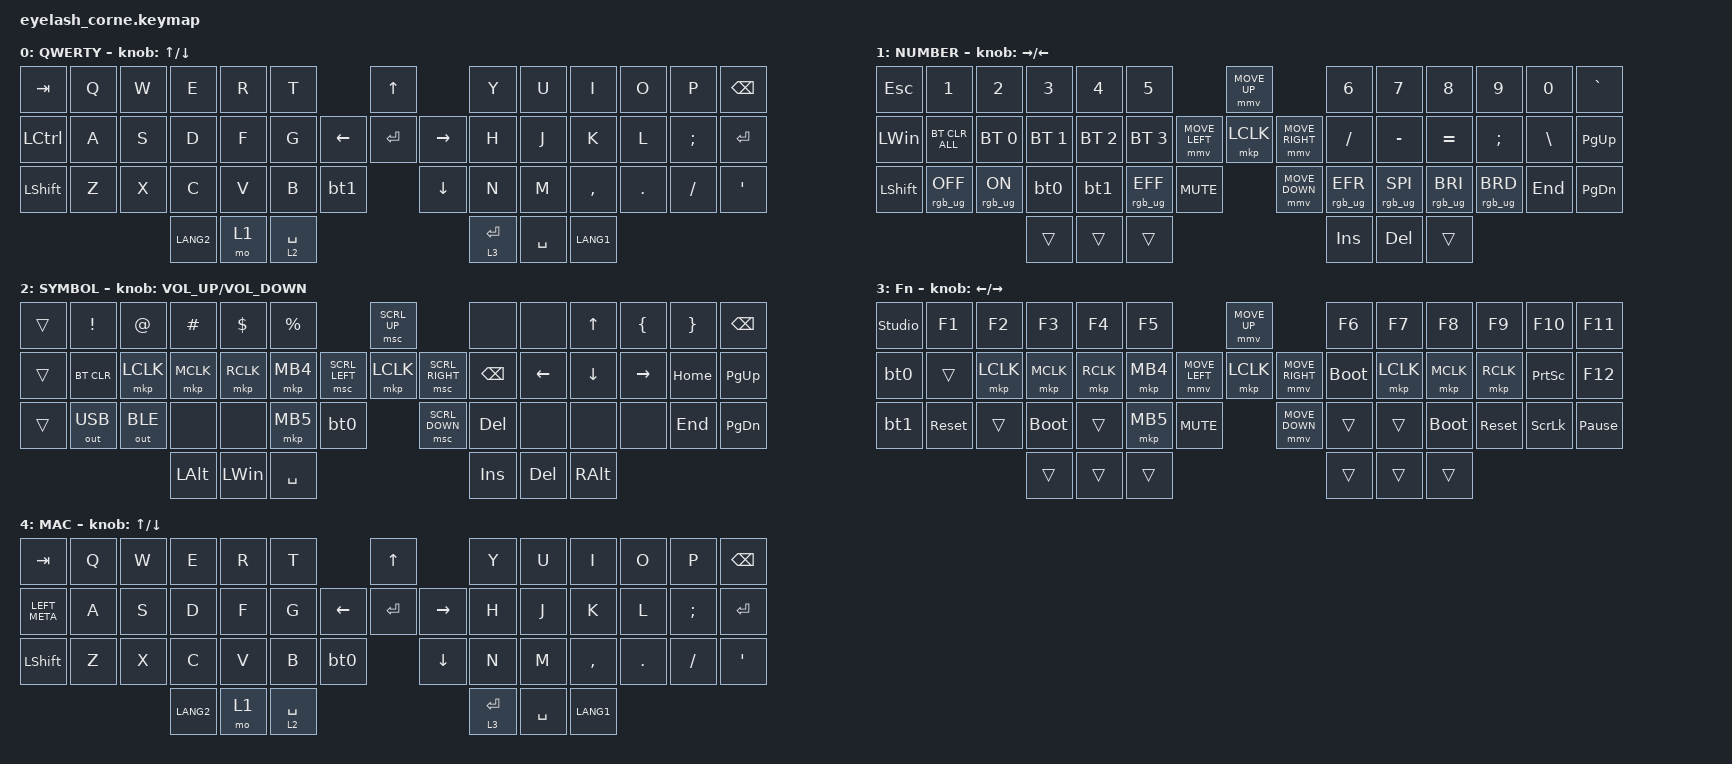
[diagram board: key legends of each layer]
#include <dt-bindings/zmk/mouse.h>
#include <input/processors.dtsi>
#include <behaviors.dtsi>
#include <dt-bindings/zmk/bt.h>
#include <dt-bindings/zmk/keys.h>
#include <dt-bindings/zmk/outputs.h>
#include <dt-bindings/zmk/pointing.h>
#include <dt-bindings/zmk/rgb.h>

/*
   &mmv_input_listener {
       input-processors = <&zip_xy_scaler 2 1>;
   };

   &msc_input_listener {
       input-processors = <&zip_xy_scaler 2 1>;
   };
 */

#define ZMK_MOUSE_DEFAULT_MOVE_VAL 1200  // 600
#define ZMK_MOUSE_DEFAULT_SCRL_VAL 20    // 10

/ {
    rgb_encoder: rgb_encoder {
        compatible = "zmk,behavior-sensor-rotate";
        #sensor-binding-cells = <0>;
        bindings = <&rgb_ug RGB_BRI>, <&rgb_ug RGB_BRD>;
    };

    scroll_encoder: scroll_encoder {
        compatible = "zmk,behavior-sensor-rotate";
        #sensor-binding-cells = <0>;
        bindings = <&msc SCRL_DOWN>, <&msc SCRL_UP>;

        tap-ms = <30>;
    };

    behaviors {
        td0: td0 {
            compatible = "zmk,behavior-tap-dance";
            display-name = "Shift/Caps Lock Tap Dance";
            #binding-cells = <0>;
            bindings = <&kp LEFT_SHIFT>, <&kp CAPS>;
        };

        rot_kp: sensor_rotate_kp {
            compatible = "zmk,behavior-sensor-rotate-var";
            #sensor-binding-cells = <2>;
            bindings = <&kp>, <&kp>;
        };

        tog_on: toggle_layer_on_only {
            compatible = "zmk,behavior-toggle-layer";
            #binding-cells = <1>;
            display-name = "Toggle Layer On";
            toggle-mode = "on";
        };

        tog_off: toggle_layer_off_only {
            compatible = "zmk,behavior-toggle-layer";
            #binding-cells = <1>;
            display-name = "Toggle Layer Off";
            toggle-mode = "off";
        };
    };

    macros {
        bt0: bt0 {
            compatible = "zmk,behavior-macro";
            #binding-cells = <0>;
            bindings =
                <&macro_wait_time 200>,
                <&bt BT_SEL 0>,
                <&macro_wait_time 500>;

            label = "BT0";
        };

        bt1: bt1 {
            compatible = "zmk,behavior-macro";
            #binding-cells = <0>;
            bindings =
                <&macro_wait_time 200>,
                <&bt BT_SEL 1>,
                <&macro_wait_time 500>;

            label = "BT1";
        };
    };

    keymap {
        compatible = "zmk,keymap";

        default_layer {
            display-name = "QWERTY";
            bindings = <
&kp TAB           &kp Q  &kp W  &kp E      &kp R  &kp T                          &kp UP                &kp Y        &kp U      &kp I      &kp O    &kp P     &kp BSPC
&kp LEFT_CONTROL  &kp A  &kp S  &kp D      &kp F  &kp G                &kp LEFT  &kp ENTER  &kp RIGHT  &kp H        &kp J      &kp K      &kp L    &kp SEMI  &kp RET
&kp LSHIFT        &kp Z  &kp X  &kp C      &kp V  &kp B        &bt1              &kp DOWN              &kp N        &kp M      &kp COMMA  &kp DOT  &kp FSLH  &kp APOS
                                &kp LANG2  &mo 1  &lt 2 SPACE                                          &lt 3 ENTER  &kp SPACE  &kp LANG1
            >;

            sensor-bindings = <&rot_kp UP_ARROW DOWN_ARROW>;
        };

        lower_layer {
            display-name = "NUMBER";
            bindings = <
&kp ESCAPE      &kp N1           &kp N2          &kp N3        &kp N4        &kp N5                                         &mmv MOVE_UP                     &kp N6           &kp N7           &kp N8           &kp N9           &kp N0         &kp GRAVE
&kp LEFT_WIN    &bt BT_CLR_ALL   &bt BT_SEL 0    &bt BT_SEL 1  &bt BT_SEL 2  &bt BT_SEL 3                   &mmv MOVE_LEFT  &mkp LCLK       &mmv MOVE_RIGHT  &kp SLASH        &kp MINUS        &kp EQUAL        &kp SEMI         &kp BACKSLASH  &kp PG_UP
&kp LEFT_SHIFT  &rgb_ug RGB_OFF  &rgb_ug RGB_ON  &bt0          &bt1          &rgb_ug RGB_EFF  &kp C_MUTE                    &mmv MOVE_DOWN                   &rgb_ug RGB_EFR  &rgb_ug RGB_SPI  &rgb_ug RGB_BRI  &rgb_ug RGB_BRD  &kp END        &kp PG_DN
                                                 &trans        &trans        &trans                                                                          &kp INS          &kp DEL          &trans
            >;

            sensor-bindings = <&rot_kp RIGHT_ARROW LEFT_ARROW>;
        };

        raise_layer {
            display-name = "SYMBOL";
            bindings = <
&trans  &kp EXCL      &kp AT        &kp HASH      &kp DLLR      &kp PRCNT                          &msc SCRL_UP                     &none          &none           &kp UP_ARROW    &kp LBRC         &kp RBRC  &kp BSPC
&trans  &bt BT_CLR    &mkp LCLK     &mkp MCLK     &mkp RCLK     &mkp MB4           &msc SCRL_LEFT  &mkp LCLK       &msc SCRL_RIGHT  &kp BACKSPACE  &kp LEFT_ARROW  &kp DOWN_ARROW  &kp RIGHT_ARROW  &kp HOME  &kp PG_UP
&trans  &out OUT_USB  &out OUT_BLE  &none         &none         &mkp MB5   &bt0                    &msc SCRL_DOWN                   &kp DELETE     &none           &none           &none            &kp END   &kp PAGE_DOWN
                                    &kp LEFT_ALT  &kp LEFT_WIN  &kp SPACE                                                           &kp INSERT     &kp DEL         &kp RIGHT_ALT
            >;

            sensor-bindings = <&rot_kp C_VOLUME_UP C_VOLUME_DOWN>;
        };

        layer_3 {
            display-name = "Fn";
            bindings = <
&studio_unlock  &kp F1      &kp F2     &kp F3       &kp F4     &kp F5                                  &mmv MOVE_UP                     &kp F6       &kp F7     &kp F8       &kp F9      &kp F10          &kp F11
&bt0            &trans      &mkp LCLK  &mkp MCLK    &mkp RCLK  &mkp MB4                &mmv MOVE_LEFT  &mkp LCLK       &mmv MOVE_RIGHT  &bootloader  &mkp LCLK  &mkp MCLK    &mkp RCLK   &kp PRINTSCREEN  &kp F12
&bt1            &sys_reset  &trans     &bootloader  &trans     &mkp MB5  &kp C_MUTE                    &mmv MOVE_DOWN                   &trans       &trans     &bootloader  &sys_reset  &kp SCROLLLOCK   &kp PAUSE_BREAK
                                       &trans       &trans     &trans                                                                   &trans       &trans     &trans
            >;

            sensor-bindings = <&rot_kp LEFT_ARROW RIGHT>;
        };

        layer_4 {
            display-name = "MAC";
            bindings = <
&kp TAB        &kp Q  &kp W  &kp E      &kp R  &kp T                          &kp UP                &kp Y        &kp U      &kp I      &kp O    &kp P     &kp BSPC
&kp LEFT_META  &kp A  &kp S  &kp D      &kp F  &kp G                &kp LEFT  &kp ENTER  &kp RIGHT  &kp H        &kp J      &kp K      &kp L    &kp SEMI  &kp RET
&kp LSHIFT     &kp Z  &kp X  &kp C      &kp V  &kp B        &bt0              &kp DOWN              &kp N        &kp M      &kp COMMA  &kp DOT  &kp FSLH  &kp APOS
                             &kp LANG2  &mo 1  &lt 2 SPACE                                          &lt 3 ENTER  &kp SPACE  &kp LANG1
            >;

            sensor-bindings = <&rot_kp UP_ARROW DOWN_ARROW>;
        };
    };
};
